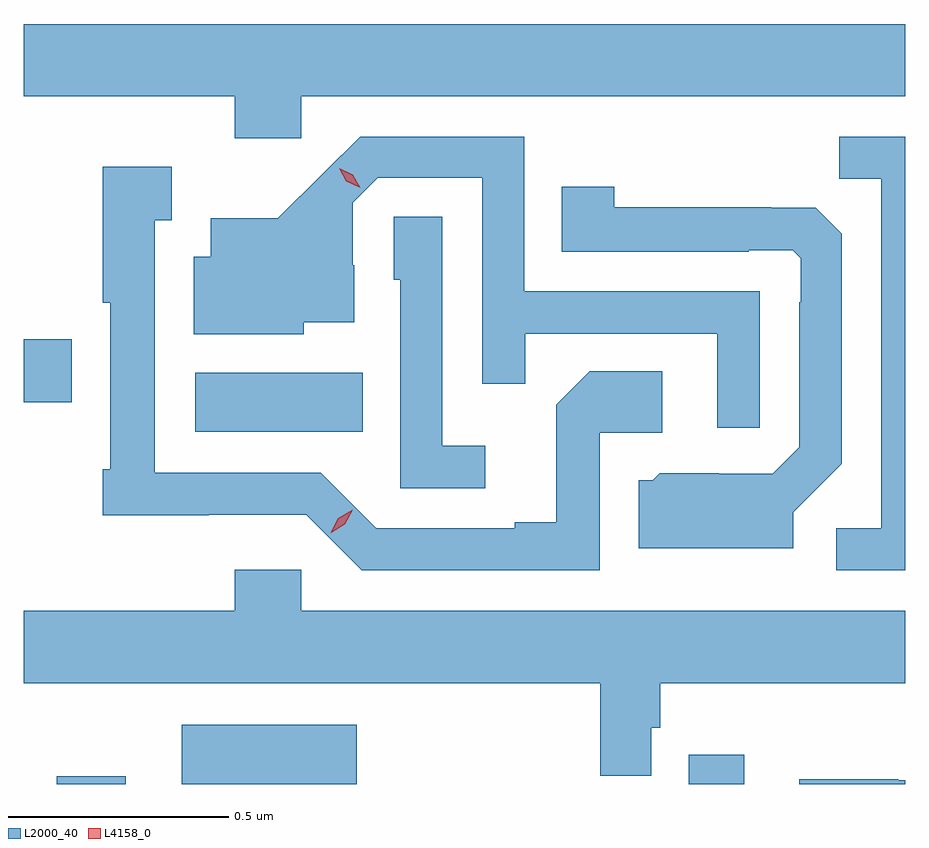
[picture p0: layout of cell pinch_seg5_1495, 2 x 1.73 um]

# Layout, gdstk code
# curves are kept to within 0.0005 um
import gdstk
lib = gdstk.Library(unit=1e-6, precision=1e-09)
def R(c, l, rs):  # rectangles x0, y0, x1, y1
    for r in rs: c.add(gdstk.rectangle(r[:2], r[2:], *l))
def P(c, l, *ps):  # polygons
    for p in ps: c.add(gdstk.Polygon(p, *l))
L2000_40 = (2000, 40)
L4158_0 = (4158, 0)

pinch_seg5_1495 = lib.new_cell('pinch_seg5_1495')
R(pinch_seg5_1495, L2000_40, [(155.932,891.163,156.088,891.181), (156.215,891.163,156.613,891.298), (157.366,891.163,157.492,891.229), (156.246,891.962,156.626,892.096), (155.857,892.03,155.965,892.172)])
P(pinch_seg5_1495, L2000_40, [(156.486,892.724),(157.857,892.724),(157.857,892.888),(155.857,892.888),(155.857,892.724),(156.335,892.724),(156.335,892.629),(156.486,892.629)],
  [(157.857,892.632),(157.708,892.632),(157.708,892.537),(157.803,892.537),(157.803,891.744),(157.701,891.744),(157.701,891.648),(157.857,891.648)],
  [(157.527,892.281),(156.993,892.281),(156.993,892.632),(156.62,892.632),(156.433,892.447),(156.281,892.447),(156.281,892.36),(156.242,892.36),(156.242,892.184),(156.492,892.184),(156.492,892.211),(156.607,892.211),(156.607,892.34),(156.603,892.34),(156.603,892.482),(156.66,892.539),(156.897,892.539),(156.897,892.072),(156.995,892.072),(156.995,892.185),(157.431,892.185),(157.431,891.972),(157.527,891.972)],
  [(157.164,891.96),(157.306,891.96),(157.306,892.1),(157.141,892.1),(157.065,892.024),(157.065,891.757),(156.971,891.757),(156.971,891.744),(156.657,891.744),(156.531,891.87),(156.154,891.87),(156.154,892.443),(156.193,892.443),(156.193,892.564),(156.036,892.564),(156.036,892.255),(156.053,892.255),(156.053,891.877),(156.036,891.877),(156.036,891.773),(156.276,891.773),(156.276,891.774),(156.498,891.774),(156.624,891.648),(157.164,891.648)],
  [(157.603,891.78),(157.713,891.89),(157.713,892.412),(157.654,892.471),(157.553,892.471),(157.553,892.472),(157.197,892.472),(157.197,892.519),(157.078,892.519),(157.078,892.371),(157.502,892.371),(157.502,892.374),(157.602,892.374),(157.62,892.356),(157.62,892.256),(157.617,892.256),(157.617,891.927),(157.557,891.867),(157.434,891.867),(157.434,891.868),(157.3,891.868),(157.284,891.852),(157.253,891.852),(157.253,891.698),(157.603,891.698)],
  [(156.904,891.931),(156.807,891.931),(156.807,892.451),(156.696,892.451),(156.696,892.308),(156.711,892.308),(156.711,891.834),(156.904,891.834)],
  [(157.281,891.291),(157.301,891.291),(157.301,891.392),(157.857,891.392),(157.857,891.556),(156.486,891.556),(156.486,891.649),(156.335,891.649),(156.335,891.556),(155.857,891.556),(155.857,891.392),(157.165,891.392),(157.165,891.182),(157.281,891.182)],
  [(157.857,891.171),(157.841,891.171),(157.841,891.174),(157.617,891.174),(157.617,891.163),(157.857,891.163)])
P(pinch_seg5_1495, L4158_0, [(156.62,892.516),(156.589,892.531),(156.573,892.561),(156.573,892.561),(156.573,892.561),(156.603,892.546),(156.62,892.516),(156.62,892.516)],
  [(156.553,891.733),(156.553,891.733),(156.571,891.766),(156.603,891.785),(156.603,891.785),(156.603,891.785),(156.585,891.752),(156.554,891.733)])

lib.write_gds('pinch_seg5_1495.gds')
